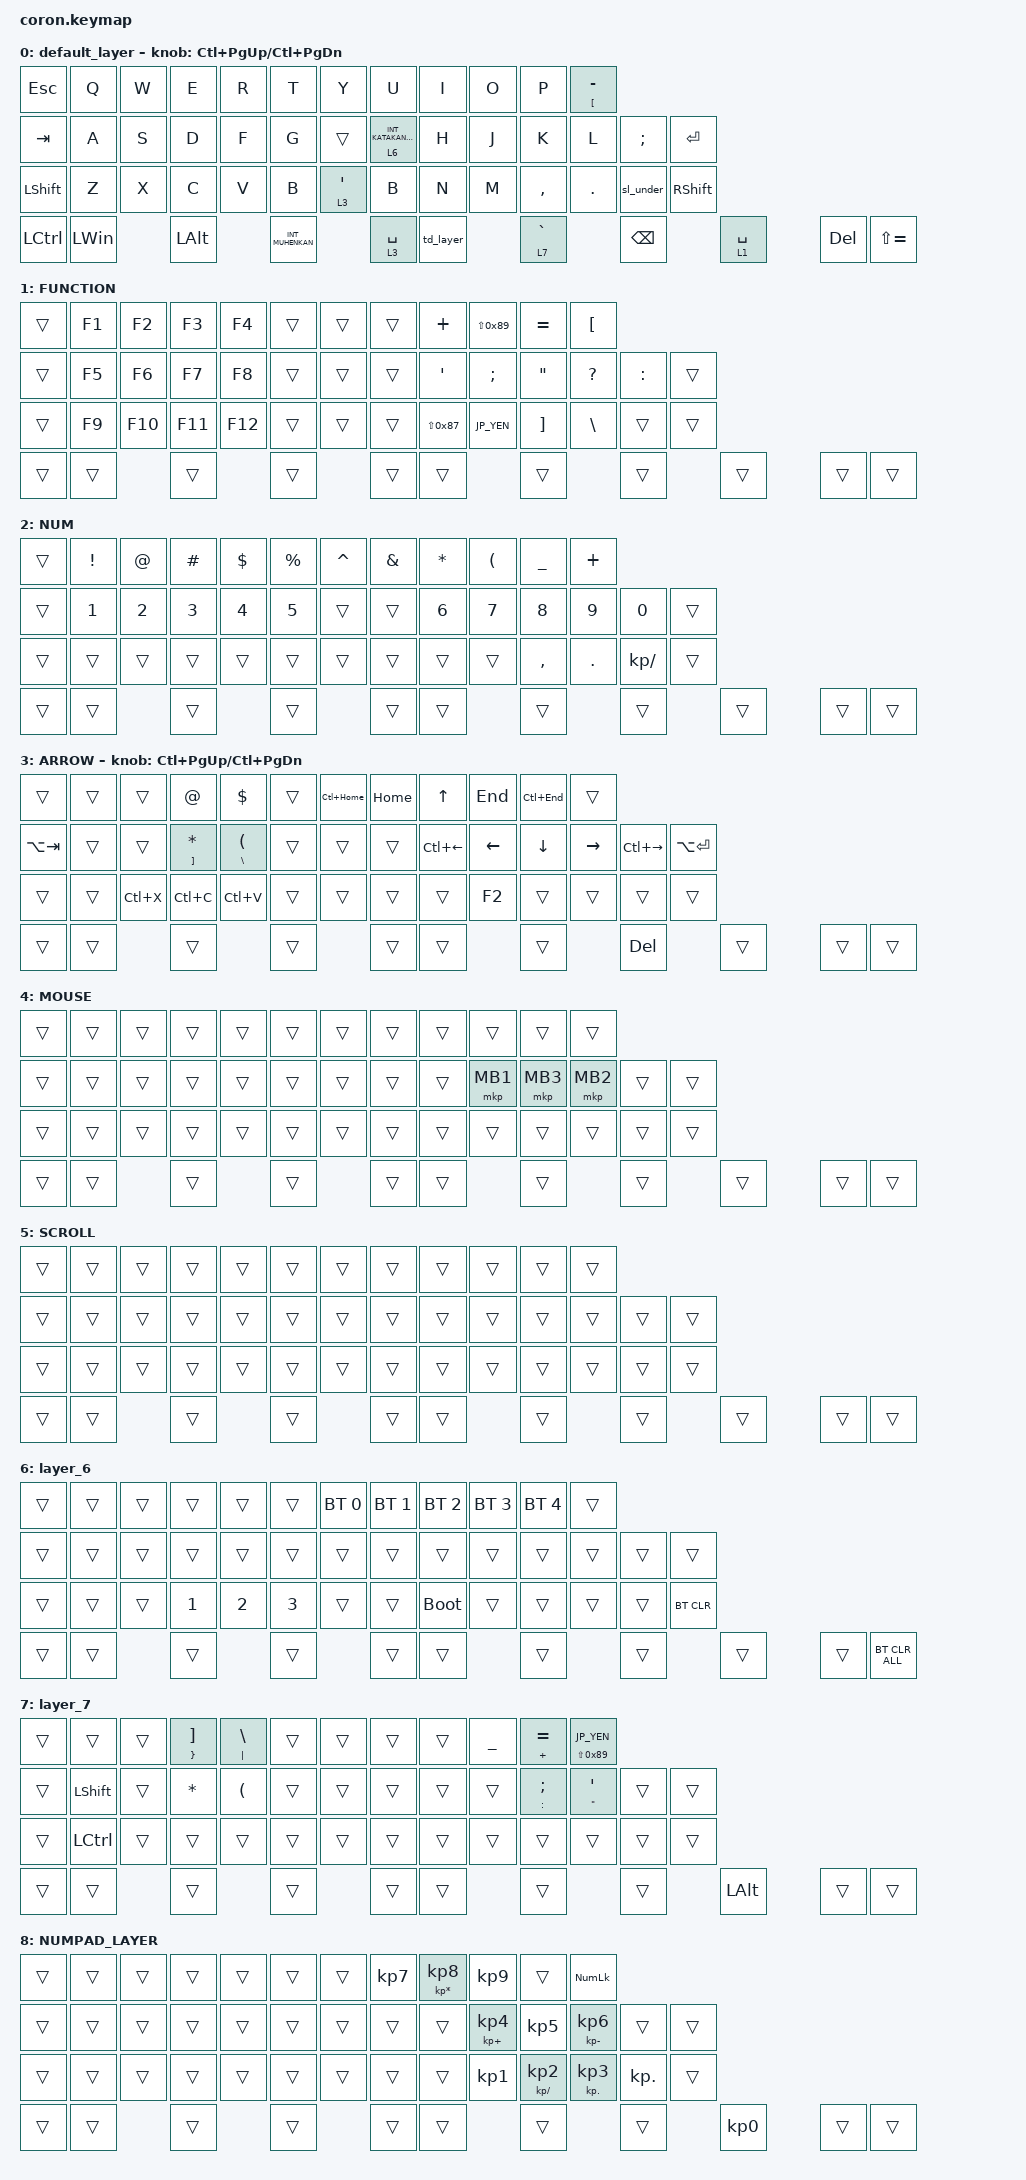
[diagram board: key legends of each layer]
/* coron.keymap */

#include <behaviors.dtsi>
#include <dt-bindings/zmk/bt.h>
#include <dt-bindings/zmk/keys.h>
#include <dt-bindings/zmk/pointing.h>

// OS設定を日本語キーボードのまま使用するための変換定義
#define JP_DQUOTE       AT                // "
#define JP_AMPERSAND    CARET             // &
#define JP_QUOTE        AMPERSAND         // '
#define JP_EQUAL        UNDER             // =
#define JP_CARET        EQUAL             // ^
#define JP_YEN          0x89              // ¥
#define JP_PLUS         COLON             // +
#define JP_TILDE        PLUS              // ~
#define JP_PIPE         LS(0x89)          // |
#define JP_AT           LEFT_BRACKET      // @
#define JP_COLON        SINGLE_QUOTE      // :
#define JP_ASTERISK     DOUBLE_QUOTES     // *
#define JP_BACKQUOTE    LEFT_BRACE        // `
#define JP_UNDERSCORE   LS(0x87)          // _
#define JP_LBRACKET     RIGHT_BRACKET     // [
#define JP_RBRACKET     BACKSLASH         // ]
#define JP_LPAREN       ASTERISK          // (
#define JP_RPAREN       LEFT_PARENTHESIS  // )
#define JP_LBRACE       RIGHT_BRACE       // {
#define JP_RBRACE       PIPE              // }
#define JP_KANA  INT_KATAKANAHIRAGANA // ひらがな・カタカナ
#define JP_EISU         LANGUAGE_2        // 英数
#define JP_HANZEN       GRAVE             // 半角/全角

&mt {
    flavor = "balanced";
    quick-tap-ms = <0>;
};

&trackball {
    automouse-layer = <99>;
    scroll-layers = <5>;
};

/ {
    combos {
        compatible = "zmk,combos";

        /* Note: Key positions have shifted due to added columns. 
           You will need to recalculate these indices later. */

        shift_tab {
            bindings = <&kp LS(TAB)>;
            key-positions = <12 13>;
        };

        double_quotation {
            bindings = <&kp JP_DQUOTE>; /* 修正：JIS定義コードへ最適化 */
            key-positions = <20 21>;
        };

        eq {
            bindings = <&kp JP_EQUAL>; /* 修正：JIS定義コードへ最適化 */
            key-positions = <24 25>;
        };
        question {
            bindings = <&kp QUESTION>; /* QUESTION はZMK標準のままでJISでも「？」になります */
            key-positions = <38 39>;
        };
        combo_key_23_24 {
            bindings = <&kp SEMICOLON>;
            key-positions = <23 24>;
        };

        click_left {
            bindings = <&mkp MB1>;
            key-positions = <21 22>;
        };

        click_right {
            bindings = <&mkp MB2>;
            key-positions = <22 23>;
        };

        click_middle {
            bindings = <&mkp MB3>;
            key-positions = <22 36>;
        };

        to_scroll_layer {
            bindings = <&mo 5>;
            key-positions = <21 22 23>;
        };
        print_screen {
            bindings = <&kp PRINTSCREEN>;
            key-positions = <36 37 48>;
        };
        capslock {
            bindings = <&kp LS(CAPS)>;
            key-positions = <12 26>;
            layers = <3>;
        };
    };

    macros {
        to_layer_0: to_layer_0 {
            compatible = "zmk,behavior-macro-one-param";
            #binding-cells = <1>;
            bindings = <&to 0 &macro_param_1to1 &kp MACRO_PLACEHOLDER>;
            label = "TO_LAYER_0";
        };
    };

    behaviors {
        lt_to_layer_0: lt_to_layer_0 {
            compatible = "zmk,behavior-hold-tap";
            label = "LAYER_TAP_TO_0";
            bindings = <&mo>, <&to_layer_0>;
            #binding-cells = <2>;
            tapping-term-ms = <200>;
        };

        sl_under: slash_underscore {
            compatible = "zmk,behavior-mod-morph";
            label = "SLASH_UNDERSCORE";
            #binding-cells = <0>;
            bindings = <&kp SLASH>, <&kp JP_UNDERSCORE>;
            mods = <(MOD_LSFT|MOD_RSFT)>;
        };

        lt_bracket: lt_bracket {
            compatible = "zmk,behavior-hold-tap";
            label = "HOLD_KAGI_BRACKET";
            #binding-cells = <2>;
            tapping-term-ms = <200>;
            flavor = "tap-preferred";
            bindings = <&kp>, <&kp>;
        };

        td_layer: td_layer {
            compatible = "zmk,behavior-tap-dance";
            #binding-cells = <0>;
            tapping-term-ms = <200>;
        
            bindings =
                <&lt 2 INT_HENKAN>,
                <&lt 8 INT_HENKAN>;
        };

    };


    keymap {
        compatible = "zmk,keymap";

        default_layer {
            bindings = <
                &kp ESC  &kp Q  &kp W  &kp E  &kp R  &kp T  &kp Y  &kp U  &kp I  &kp O  &kp P  &lt_bracket JP_AT MINUS
                &kp TAB  &kp A  &kp S  &kp D  &kp F  &kp G  &trans  &lt 6 JP_KANA  &kp H  &kp J  &kp K  &kp L  &kp SEMI  &kp ENTER
                &kp LEFT_SHIFT  &kp Z  &kp X  &kp C  &kp V  &kp B  &lt 3 JP_COLON  &kp B  &kp N  &kp M  &kp COMMA  &kp DOT  &sl_under  &kp RIGHT_SHIFT
                &kp LCTRL  &kp LEFT_WIN  &kp LEFT_ALT  &kp INT_MUHENKAN  &lt 3 SPACE  &td_layer  &lt 7 JP_HANZEN  &kp BACKSPACE  &lt 1 SPACE  &kp DEL  &kp LS(EQUAL)
            >;

            sensor-bindings = <&inc_dec_kp LC(PAGE_UP) LC(PAGE_DOWN)>;
        };

        FUNCTION {
            bindings = <
                &trans  &kp F1  &kp F2  &kp F3  &kp F4  &trans  &trans  &trans  &kp JP_TILDE  &kp JP_PIPE  &kp JP_CARET  &kp JP_AT
                &trans  &kp F5  &kp F6  &kp F7  &kp F8  &trans  &trans  &trans  &kp JP_COLON  &kp SEMICOLON  &kp JP_ASTERISK  &kp QUESTION  &kp JP_PLUS  &trans
                &trans  &kp F9  &kp F10  &kp F11  &kp F12  &trans  &trans  &trans  &kp JP_UNDERSCORE  &kp JP_YEN  &kp JP_LBRACKET  &kp JP_RBRACKET  &trans  &trans
                &trans  &trans  &trans  &trans  &trans  &trans  &trans  &trans  &trans  &trans  &trans
            >;
        };

        NUM {
            bindings = <
                &trans  &kp EXCLAMATION  &kp JP_DQUOTE  &kp HASH  &kp DOLLAR  &kp PERCENT  &kp JP_AMPERSAND  &kp JP_QUOTE  &kp JP_LPAREN  &kp JP_RPAREN  &kp JP_EQUAL  &kp JP_TILDE
                &trans  &kp N1  &kp N2  &kp N3  &kp N4  &kp N5  &trans  &trans  &kp N6  &kp N7  &kp N8  &kp N9  &kp N0  &trans
                &trans  &trans  &trans  &trans  &trans  &trans  &trans  &trans  &trans  &trans  &kp COMMA  &kp PERIOD  &kp KP_SLASH  &trans
                &trans  &trans  &trans  &trans  &trans  &trans  &trans  &trans  &trans  &trans  &trans
            >;
        };

        ARROW {
            bindings = <
                &trans  &trans  &trans  &kp JP_DQUOTE  &kp DOLLAR  &trans  &kp LC(HOME)  &kp HOME  &kp UP_ARROW  &kp END  &kp LC(END)  &trans
                &kp LA(TAB)  &trans  &trans  &lt_bracket JP_LBRACKET JP_LPAREN  &lt_bracket JP_RBRACKET JP_RPAREN  &trans  &trans  &trans  &kp LC(LEFT_ARROW)  &kp LEFT_ARROW  &kp DOWN_ARROW  &kp RIGHT_ARROW  &kp LC(RIGHT_ARROW)  &kp LA(ENTER)
                &trans  &trans  &kp LC(X)  &kp LC(C)  &kp LC(V)  &trans  &trans  &trans  &trans  &kp F2  &trans  &trans  &trans  &trans
                &trans  &trans  &trans  &trans  &trans  &trans  &trans  &kp DELETE  &trans  &trans  &trans
            >;

            sensor-bindings = <&inc_dec_kp LC(PAGE_UP) LC(PAGE_DOWN)>;
        };

        MOUSE {
            bindings = <
                &trans  &trans  &trans  &trans  &trans  &trans  &trans  &trans  &trans  &trans  &trans  &trans
                &trans  &trans  &trans  &trans  &trans  &trans  &trans  &trans  &trans  &mkp MB1  &mkp MB3  &mkp MB2  &trans  &trans
                &trans  &trans  &trans  &trans  &trans  &trans  &trans  &trans  &trans  &trans  &trans  &trans  &trans  &trans
                &trans  &trans  &trans  &trans  &trans  &trans  &trans  &trans  &trans  &trans  &trans
            >;
        };

        SCROLL {
            bindings = <
                &trans  &trans  &trans  &trans  &trans  &trans  &trans  &trans  &trans  &trans  &trans  &trans
                &trans  &trans  &trans  &trans  &trans  &trans  &trans  &trans  &trans  &trans  &trans  &trans  &trans  &trans
                &trans  &trans  &trans  &trans  &trans  &trans  &trans  &trans  &trans  &trans  &trans  &trans  &trans  &trans
                &trans  &trans  &trans  &trans  &trans  &trans  &trans  &trans  &trans  &trans  &trans
            >;
        };

        layer_6 {
            bindings = <
                &trans  &trans  &trans  &trans  &trans  &trans  &bt BT_SEL 0  &bt BT_SEL 1  &bt BT_SEL 2  &bt BT_SEL 3  &bt BT_SEL 4  &trans
                &trans  &trans  &trans  &trans  &trans  &trans  &trans  &trans  &trans  &trans  &trans  &trans  &trans  &trans
                &trans  &trans  &trans  &kp NUMBER_1  &kp NUMBER_2  &kp NUMBER_3  &trans  &trans  &bootloader  &trans  &trans  &trans  &trans  &bt BT_CLR
                &trans  &trans  &trans  &trans  &trans  &trans  &trans  &trans  &trans  &trans  &bt BT_CLR_ALL
            >;
        };

        layer_7 {
            bindings = <
                &trans  &trans  &trans  &lt_bracket JP_LBRACE JP_LBRACKET  &lt_bracket JP_RBRACE JP_RBRACKET  &trans  &trans  &trans  &trans  &kp JP_EQUAL  &lt_bracket JP_TILDE JP_CARET  &lt_bracket JP_PIPE JP_YEN
                &trans  &kp LEFT_SHIFT  &trans  &kp JP_LPAREN  &kp JP_RPAREN  &trans  &trans  &trans  &trans  &trans  &lt_bracket JP_PLUS SEMI  &lt_bracket JP_ASTERISK JP_COLON  &trans  &trans
                &trans  &kp LCTRL  &trans  &trans  &trans  &trans  &trans  &trans  &trans  &trans  &trans  &trans  &trans  &trans
                &trans  &trans  &trans  &trans  &trans  &trans  &trans  &trans  &kp LALT  &trans  &trans
            >;
        };

        NUMPAD_LAYER {
            bindings = <
                &trans  &trans  &trans  &trans  &trans  &trans  &trans  &kp KP_N7  &lt_bracket KP_ASTERISK KP_N8  &kp KP_N9  &trans  &kp KP_NUM
                &trans  &trans  &trans  &trans  &trans  &trans  &trans  &trans  &trans  &lt_bracket KP_PLUS KP_N4  &kp KP_N5  &lt_bracket KP_MINUS KP_N6  &trans  &trans
                &trans  &trans  &trans  &trans  &trans  &trans  &trans  &trans  &trans  &kp KP_N1  &lt_bracket KP_DIVIDE KP_N2  &lt_bracket KP_DOT KP_N3  &kp KP_DOT  &trans
                &trans  &trans  &trans  &trans  &trans  &trans  &trans  &trans  &kp KP_N0  &trans  &trans
            >;
        };
    };
};
